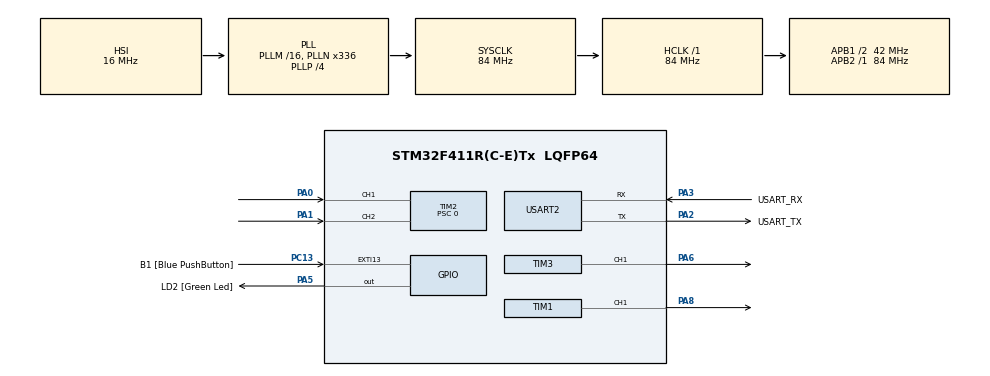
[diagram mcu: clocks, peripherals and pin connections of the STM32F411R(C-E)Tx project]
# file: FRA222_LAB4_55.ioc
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Mcu.Family=STM32F4
Mcu.Name=STM32F411R(C-E)Tx
Mcu.Package=LQFP64
Mcu.UserConstants=QEI_PERIOD,308000
NVIC.PriorityGroup=NVIC_PRIORITYGROUP_0
NVIC.TIM5_IRQn=true\:0\:0\:false\:false\:true\:true\:true\:true
PA0-WKUP.Signal=S_TIM2_CH1_ETR
PA1.Signal=S_TIM2_CH2
PA13.GPIO_Label=TMS
PA13.Mode=Serial_Wire
PA13.Signal=SYS_JTMS-SWDIO
PA14.GPIO_Label=TCK
PA14.Mode=Serial_Wire
PA14.Signal=SYS_JTCK-SWCLK
PA2.GPIO_Label=USART_TX
PA2.Mode=Asynchronous
PA2.Signal=USART2_TX
PA3.GPIO_Label=USART_RX
PA3.Mode=Asynchronous
PA3.Signal=USART2_RX
PA5.GPIO_Label=LD2 [Green Led]
PA5.Signal=GPIO_Output
PA6.Signal=S_TIM3_CH1
PA8.Signal=S_TIM1_CH1
PB3.GPIO_Label=SWO
PB3.Signal=SYS_JTDO-SWO
PC13-ANTI_TAMP.GPIO_Label=B1 [Blue PushButton]
PC13-ANTI_TAMP.GPIO_ModeDefaultEXTI=GPIO_MODE_IT_FALLING
PC13-ANTI_TAMP.Signal=GPXTI13
PC14-OSC32_IN.Mode=LSE-External-Oscillator
PC14-OSC32_IN.Signal=RCC_OSC32_IN
PC15-OSC32_OUT.Mode=LSE-External-Oscillator
PC15-OSC32_OUT.Signal=RCC_OSC32_OUT
PH0\ -\ OSC_IN.Mode=HSE-External-Clock-Source
PH0\ -\ OSC_IN.Signal=RCC_OSC_IN
PH1\ -\ OSC_OUT.Mode=HSE-External-Clock-Source
PH1\ -\ OSC_OUT.Signal=RCC_OSC_OUT
ProjectManager.HeapSize=0x200
ProjectManager.StackSize=0x400
ProjectManager.TargetToolchain=STM32CubeIDE
RCC.48MHZClocksFreq_Value=84000000
RCC.AHBFreq_Value=84000000
RCC.APB1CLKDivider=RCC_HCLK_DIV2
RCC.APB1Freq_Value=42000000
RCC.APB1TimFreq_Value=84000000
RCC.APB2Freq_Value=84000000
RCC.APB2TimFreq_Value=84000000
RCC.CortexFreq_Value=84000000
RCC.FLatency-AdvancedSettings=FLASH_LATENCY_2
RCC.HCLKFreq_Value=84000000
RCC.HSE_VALUE=8000000
RCC.HSI_VALUE=16000000
RCC.PLLN=336
RCC.PLLP=RCC_PLLP_DIV4
RCC.SYSCLKFreq_VALUE=84000000
RCC.SYSCLKSource=RCC_SYSCLKSOURCE_PLLCLK
RCC.VCOOutputFreq_Value=336000000
SH.S_TIM1_CH1.0=TIM1_CH1,PWM Generation1 CH1
SH.S_TIM2_CH1_ETR.0=TIM2_CH1,Encoder_Interface
SH.S_TIM2_CH2.0=TIM2_CH2,Encoder_Interface
SH.S_TIM3_CH1.0=TIM3_CH1,PWM Generation1 CH1
TIM1.Channel-PWM\ Generation1\ CH1=TIM_CHANNEL_1
TIM1.Period=9999
TIM1.Prescaler=83
TIM2.EncoderMode=TIM_ENCODERMODE_TI12
TIM2.Period=QEI_PERIOD-1
TIM2.Prescaler=0
TIM3.Channel-PWM\ Generation1\ CH1=TIM_CHANNEL_1
TIM3.Period=9999
TIM3.Prescaler=83
USART2.VirtualMode=VM_ASYNC
VP_TIM1_VS_ClockSourceINT.Mode=Internal
VP_TIM3_VS_ClockSourceINT.Mode=Internal
VP_TIM5_VS_ClockSourceINT.Mode=Internal
board=NUCLEO-F411RE

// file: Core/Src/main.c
/* USER CODE BEGIN Header */
/**
  ******************************************************************************
  * @file           : main.c
  * @brief          : Main program body
  ******************************************************************************
  * @attention
  *
  * Copyright (c) 2023 STMicroelectronics.
  * All rights reserved.
  *
  * This software is licensed under terms that can be found in the LICENSE file
  * in the root directory of this software component.
  * If no LICENSE file comes with this software, it is provided AS-IS.
  *
  ******************************************************************************
  */
#include "stdio.h"
/* USER CODE END Header */
#include "main.h"

/* USER CODE BEGIN Includes */
#include "arm_math.h"
#include <math.h>
/* USER CODE END Includes */

TIM_HandleTypeDef htim1;
TIM_HandleTypeDef htim2;
TIM_HandleTypeDef htim3;
TIM_HandleTypeDef htim5;

UART_HandleTypeDef huart2;

/* USER CODE BEGIN PV */
uint32_t QEIReadRaw;

float differ;
uint64_t _micros = 0;
float PWMsetter1 = 0;
float PWMsetter2 = 0;
float setpoint = 0;

float feedback = 0;
float degree = 0;
float position = 0;

//PID variables
float error = 0;
float integral = 0;
float derivative = 0;
float errorPrev = 0;
float integralPrev = 0;
float PIDOut = 0;
float KP = 2.5;
float KI = 0.00015;
float KD = 0.1;
/* USER CODE END PV */

void SystemClock_Config(void);
static void MX_GPIO_Init(void);
static void MX_USART2_UART_Init(void);
static void MX_TIM3_Init(void);
static void MX_TIM5_Init(void);
static void MX_TIM1_Init(void);
static void MX_TIM2_Init(void);
/* USER CODE BEGIN PFP */
inline uint64_t micros();
void PIDfunc(float input);

/* USER CODE END PFP */

int main(void)
{

  /* MCU Configuration--------------------------------------------------------*/

  /* Reset of all peripherals, Initializes the Flash interface and the Systick. */
  HAL_Init();

  /* Configure the system clock */
  SystemClock_Config();

  /* Initialize all configured peripherals */
  MX_GPIO_Init();
  MX_USART2_UART_Init();
  MX_TIM3_Init();
  MX_TIM5_Init();
  MX_TIM1_Init();
  MX_TIM2_Init();
  /* USER CODE BEGIN 2 */
HAL_TIM_Encoder_Start(&htim2, TIM_CHANNEL_1|TIM_CHANNEL_2);
HAL_TIM_Base_Start(&htim5);
HAL_TIM_Base_Start(&htim1);
HAL_TIM_PWM_Start(&htim1, TIM_CHANNEL_1);
HAL_TIM_Base_Start(&htim3);
HAL_TIM_PWM_Start(&htim3, TIM_CHANNEL_1);

  /* USER CODE END 2 */

  /* Infinite loop */
  while (1)
  {

    /* USER CODE BEGIN 3 */

	  static uint32_t timestamp = 0;
	  if(HAL_GetTick()>timestamp)// 1000Hz
	  {
		  timestamp = HAL_GetTick() + 1;
		  degree = ((float)__HAL_TIM_GET_COUNTER(&htim2)* 360.0 / 3072.0);
		  differ = setpoint - degree;
		  if (degree > 36000 && setpoint < 10 ){
			  differ = degree - 36000 ;

		  }
		  if (degree < 10 && setpoint > 35000 ){
			  differ = 0 - degree ;

		  }
		  PIDfunc(degree);

		  if(-0.5 < differ && differ < 0.5 ){
			  PWMsetter1 = 0;
			  PWMsetter2 = 0;
			  feedback = differ;

		  }
		  if( differ > 0.5){
			  //turn forward
			  PWMsetter1 = (fabs(feedback)*500.0/5.0);
			  if (PWMsetter1 > 10000.0){
				  PWMsetter1 = 10000.0;
			  }
			  if (PWMsetter1 < 200.0){
				  PWMsetter1 = 200.0;
			  }

			  PWMsetter2 = 0;

			  }
		  if(differ < -0.5){
			  	 //turn back
			  PWMsetter2 = (fabs(feedback)*500.0/5.0 ) ;
			  if (PWMsetter2 > 10000.0){
				  PWMsetter2 = 10000.0;
			  }
			  if (PWMsetter2 < 200.0){
				  PWMsetter2 = 200.0;
			  }
			  PWMsetter1 = 0;

			  }
			  __HAL_TIM_SET_COMPARE(&htim3,TIM_CHANNEL_1,PWMsetter2);
			  __HAL_TIM_SET_COMPARE(&htim1,TIM_CHANNEL_1,PWMsetter1);
		  }

	  }

  /* USER CODE END 3 */
}

void SystemClock_Config(void)
{
  RCC_OscInitTypeDef RCC_OscInitStruct = {0};
  RCC_ClkInitTypeDef RCC_ClkInitStruct = {0};

  /** Configure the main internal regulator output voltage
  */
  __HAL_RCC_PWR_CLK_ENABLE();
  __HAL_PWR_VOLTAGESCALING_CONFIG(PWR_REGULATOR_VOLTAGE_SCALE1);

  /** Initializes the RCC Oscillators according to the specified parameters
  * in the RCC_OscInitTypeDef structure.
  */
  RCC_OscInitStruct.OscillatorType = RCC_OSCILLATORTYPE_HSI;
  RCC_OscInitStruct.HSIState = RCC_HSI_ON;
  RCC_OscInitStruct.HSICalibrationValue = RCC_HSICALIBRATION_DEFAULT;
  RCC_OscInitStruct.PLL.PLLState = RCC_PLL_ON;
  RCC_OscInitStruct.PLL.PLLSource = RCC_PLLSOURCE_HSI;
  RCC_OscInitStruct.PLL.PLLM = 16;
  RCC_OscInitStruct.PLL.PLLN = 336;
  RCC_OscInitStruct.PLL.PLLP = RCC_PLLP_DIV4;
  RCC_OscInitStruct.PLL.PLLQ = 4;
  if (HAL_RCC_OscConfig(&RCC_OscInitStruct) != HAL_OK)
  {
    Error_Handler();
  }

  /** Initializes the CPU, AHB and APB buses clocks
  */
  RCC_ClkInitStruct.ClockType = RCC_CLOCKTYPE_HCLK|RCC_CLOCKTYPE_SYSCLK
                              |RCC_CLOCKTYPE_PCLK1|RCC_CLOCKTYPE_PCLK2;
  RCC_ClkInitStruct.SYSCLKSource = RCC_SYSCLKSOURCE_PLLCLK;
  RCC_ClkInitStruct.AHBCLKDivider = RCC_SYSCLK_DIV1;
  RCC_ClkInitStruct.APB1CLKDivider = RCC_HCLK_DIV2;
  RCC_ClkInitStruct.APB2CLKDivider = RCC_HCLK_DIV1;

  if (HAL_RCC_ClockConfig(&RCC_ClkInitStruct, FLASH_LATENCY_2) != HAL_OK)
  {
    Error_Handler();
  }
}

static void MX_TIM1_Init(void)
{

  TIM_ClockConfigTypeDef sClockSourceConfig = {0};
  TIM_MasterConfigTypeDef sMasterConfig = {0};
  TIM_OC_InitTypeDef sConfigOC = {0};
  TIM_BreakDeadTimeConfigTypeDef sBreakDeadTimeConfig = {0};

  htim1.Instance = TIM1;
  htim1.Init.Prescaler = 83;
  htim1.Init.CounterMode = TIM_COUNTERMODE_UP;
  htim1.Init.Period = 9999;
  htim1.Init.ClockDivision = TIM_CLOCKDIVISION_DIV1;
  htim1.Init.RepetitionCounter = 0;
  htim1.Init.AutoReloadPreload = TIM_AUTORELOAD_PRELOAD_DISABLE;
  if (HAL_TIM_Base_Init(&htim1) != HAL_OK)
  {
    Error_Handler();
  }
  sClockSourceConfig.ClockSource = TIM_CLOCKSOURCE_INTERNAL;
  if (HAL_TIM_ConfigClockSource(&htim1, &sClockSourceConfig) != HAL_OK)
  {
    Error_Handler();
  }
  if (HAL_TIM_PWM_Init(&htim1) != HAL_OK)
  {
    Error_Handler();
  }
  sMasterConfig.MasterOutputTrigger = TIM_TRGO_RESET;
  sMasterConfig.MasterSlaveMode = TIM_MASTERSLAVEMODE_DISABLE;
  if (HAL_TIMEx_MasterConfigSynchronization(&htim1, &sMasterConfig) != HAL_OK)
  {
    Error_Handler();
  }
  sConfigOC.OCMode = TIM_OCMODE_PWM1;
  sConfigOC.Pulse = 0;
  sConfigOC.OCPolarity = TIM_OCPOLARITY_HIGH;
  sConfigOC.OCNPolarity = TIM_OCNPOLARITY_HIGH;
  sConfigOC.OCFastMode = TIM_OCFAST_DISABLE;
  sConfigOC.OCIdleState = TIM_OCIDLESTATE_RESET;
  sConfigOC.OCNIdleState = TIM_OCNIDLESTATE_RESET;
  if (HAL_TIM_PWM_ConfigChannel(&htim1, &sConfigOC, TIM_CHANNEL_1) != HAL_OK)
  {
    Error_Handler();
  }
  sBreakDeadTimeConfig.OffStateRunMode = TIM_OSSR_DISABLE;
  sBreakDeadTimeConfig.OffStateIDLEMode = TIM_OSSI_DISABLE;
  sBreakDeadTimeConfig.LockLevel = TIM_LOCKLEVEL_OFF;
  sBreakDeadTimeConfig.DeadTime = 0;
  sBreakDeadTimeConfig.BreakState = TIM_BREAK_DISABLE;
  sBreakDeadTimeConfig.BreakPolarity = TIM_BREAKPOLARITY_HIGH;
  sBreakDeadTimeConfig.AutomaticOutput = TIM_AUTOMATICOUTPUT_DISABLE;
  if (HAL_TIMEx_ConfigBreakDeadTime(&htim1, &sBreakDeadTimeConfig) != HAL_OK)
  {
    Error_Handler();
  }
  HAL_TIM_MspPostInit(&htim1);

}

static void MX_TIM2_Init(void)
{

  TIM_Encoder_InitTypeDef sConfig = {0};
  TIM_MasterConfigTypeDef sMasterConfig = {0};

  htim2.Instance = TIM2;
  htim2.Init.Prescaler = 0;
  htim2.Init.CounterMode = TIM_COUNTERMODE_UP;
  htim2.Init.Period = QEI_PERIOD-1;
  htim2.Init.ClockDivision = TIM_CLOCKDIVISION_DIV1;
  htim2.Init.AutoReloadPreload = TIM_AUTORELOAD_PRELOAD_DISABLE;
  sConfig.EncoderMode = TIM_ENCODERMODE_TI12;
  sConfig.IC1Polarity = TIM_ICPOLARITY_RISING;
  sConfig.IC1Selection = TIM_ICSELECTION_DIRECTTI;
  sConfig.IC1Prescaler = TIM_ICPSC_DIV1;
  sConfig.IC1Filter = 0;
  sConfig.IC2Polarity = TIM_ICPOLARITY_RISING;
  sConfig.IC2Selection = TIM_ICSELECTION_DIRECTTI;
  sConfig.IC2Prescaler = TIM_ICPSC_DIV1;
  sConfig.IC2Filter = 0;
  if (HAL_TIM_Encoder_Init(&htim2, &sConfig) != HAL_OK)
  {
    Error_Handler();
  }
  sMasterConfig.MasterOutputTrigger = TIM_TRGO_RESET;
  sMasterConfig.MasterSlaveMode = TIM_MASTERSLAVEMODE_DISABLE;
  if (HAL_TIMEx_MasterConfigSynchronization(&htim2, &sMasterConfig) != HAL_OK)
  {
    Error_Handler();
  }

}

static void MX_TIM3_Init(void)
{

  TIM_ClockConfigTypeDef sClockSourceConfig = {0};
  TIM_MasterConfigTypeDef sMasterConfig = {0};
  TIM_OC_InitTypeDef sConfigOC = {0};

  htim3.Instance = TIM3;
  htim3.Init.Prescaler = 83;
  htim3.Init.CounterMode = TIM_COUNTERMODE_UP;
  htim3.Init.Period = 9999;
  htim3.Init.ClockDivision = TIM_CLOCKDIVISION_DIV1;
  htim3.Init.AutoReloadPreload = TIM_AUTORELOAD_PRELOAD_DISABLE;
  if (HAL_TIM_Base_Init(&htim3) != HAL_OK)
  {
    Error_Handler();
  }
  sClockSourceConfig.ClockSource = TIM_CLOCKSOURCE_INTERNAL;
  if (HAL_TIM_ConfigClockSource(&htim3, &sClockSourceConfig) != HAL_OK)
  {
    Error_Handler();
  }
  if (HAL_TIM_PWM_Init(&htim3) != HAL_OK)
  {
    Error_Handler();
  }
  sMasterConfig.MasterOutputTrigger = TIM_TRGO_RESET;
  sMasterConfig.MasterSlaveMode = TIM_MASTERSLAVEMODE_DISABLE;
  if (HAL_TIMEx_MasterConfigSynchronization(&htim3, &sMasterConfig) != HAL_OK)
  {
    Error_Handler();
  }
  sConfigOC.OCMode = TIM_OCMODE_PWM1;
  sConfigOC.Pulse = 0;
  sConfigOC.OCPolarity = TIM_OCPOLARITY_HIGH;
  sConfigOC.OCFastMode = TIM_OCFAST_DISABLE;
  if (HAL_TIM_PWM_ConfigChannel(&htim3, &sConfigOC, TIM_CHANNEL_1) != HAL_OK)
  {
    Error_Handler();
  }
  HAL_TIM_MspPostInit(&htim3);

}

static void MX_TIM5_Init(void)
{

  TIM_ClockConfigTypeDef sClockSourceConfig = {0};
  TIM_MasterConfigTypeDef sMasterConfig = {0};

  htim5.Instance = TIM5;
  htim5.Init.Prescaler = 0;
  htim5.Init.CounterMode = TIM_COUNTERMODE_UP;
  htim5.Init.Period = 4294967295;
  htim5.Init.ClockDivision = TIM_CLOCKDIVISION_DIV1;
  htim5.Init.AutoReloadPreload = TIM_AUTORELOAD_PRELOAD_DISABLE;
  if (HAL_TIM_Base_Init(&htim5) != HAL_OK)
  {
    Error_Handler();
  }
  sClockSourceConfig.ClockSource = TIM_CLOCKSOURCE_INTERNAL;
  if (HAL_TIM_ConfigClockSource(&htim5, &sClockSourceConfig) != HAL_OK)
  {
    Error_Handler();
  }
  sMasterConfig.MasterOutputTrigger = TIM_TRGO_RESET;
  sMasterConfig.MasterSlaveMode = TIM_MASTERSLAVEMODE_DISABLE;
  if (HAL_TIMEx_MasterConfigSynchronization(&htim5, &sMasterConfig) != HAL_OK)
  {
    Error_Handler();
  }

}

static void MX_USART2_UART_Init(void)
{

  huart2.Instance = USART2;
  huart2.Init.BaudRate = 115200;
  huart2.Init.WordLength = UART_WORDLENGTH_8B;
  huart2.Init.StopBits = UART_STOPBITS_1;
  huart2.Init.Parity = UART_PARITY_NONE;
  huart2.Init.Mode = UART_MODE_TX_RX;
  huart2.Init.HwFlowCtl = UART_HWCONTROL_NONE;
  huart2.Init.OverSampling = UART_OVERSAMPLING_16;
  if (HAL_UART_Init(&huart2) != HAL_OK)
  {
    Error_Handler();
  }

}

static void MX_GPIO_Init(void)
{
  GPIO_InitTypeDef GPIO_InitStruct = {0};

  /* GPIO Ports Clock Enable */
  __HAL_RCC_GPIOC_CLK_ENABLE();
  __HAL_RCC_GPIOH_CLK_ENABLE();
  __HAL_RCC_GPIOA_CLK_ENABLE();
  __HAL_RCC_GPIOB_CLK_ENABLE();

  /*Configure GPIO pin Output Level */
  HAL_GPIO_WritePin(LD2_GPIO_Port, LD2_Pin, GPIO_PIN_RESET);

  /*Configure GPIO pin : B1_Pin */
  GPIO_InitStruct.Pin = B1_Pin;
  GPIO_InitStruct.Mode = GPIO_MODE_IT_FALLING;
  GPIO_InitStruct.Pull = GPIO_NOPULL;
  HAL_GPIO_Init(B1_GPIO_Port, &GPIO_InitStruct);

  /*Configure GPIO pin : LD2_Pin */
  GPIO_InitStruct.Pin = LD2_Pin;
  GPIO_InitStruct.Mode = GPIO_MODE_OUTPUT_PP;
  GPIO_InitStruct.Pull = GPIO_NOPULL;
  GPIO_InitStruct.Speed = GPIO_SPEED_FREQ_LOW;
  HAL_GPIO_Init(LD2_GPIO_Port, &GPIO_InitStruct);

}

/* USER CODE BEGIN 4 */
//microsec timer implement
void HAL_TIM_PeriodElapsedCallback(TIM_HandleTypeDef *htim)
{
	if(htim == &htim5)
	{
		_micros += UINT32_MAX;
	}

}

uint64_t micros()
{
	return __HAL_TIM_GET_COUNTER(&htim5)+_micros;
}

void PIDfunc(float input){

	error = setpoint - input;
	integral = integralPrev + error * 0.001;
	derivative = (error-errorPrev) / 0.001;
	PIDOut = (KP*error) + (KI*integral) + (KD*derivative);
	errorPrev = error;
	integralPrev = integral;
	feedback = PIDOut;

}

/* USER CODE END 4 */

void Error_Handler(void)
{
  __disable_irq();
  while (1)
  {
  }
}
